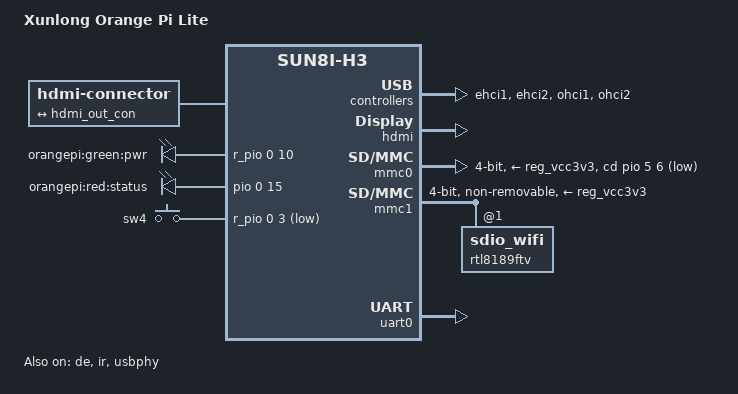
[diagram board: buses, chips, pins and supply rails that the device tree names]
/*
 * Copyright (C) 2016 Hans de Goede <hdegoede@redhat.com>
 *
 * This file is dual-licensed: you can use it either under the terms
 * of the GPL or the X11 license, at your option. Note that this dual
 * licensing only applies to this file, and not this project as a
 * whole.
 *
 *  a) This file is free software; you can redistribute it and/or
 *     modify it under the terms of the GNU General Public License as
 *     published by the Free Software Foundation; either version 2 of the
 *     License, or (at your option) any later version.
 *
 *     This file is distributed in the hope that it will be useful,
 *     but WITHOUT ANY WARRANTY; without even the implied warranty of
 *     MERCHANTABILITY or FITNESS FOR A PARTICULAR PURPOSE.  See the
 *     GNU General Public License for more details.
 *
 * Or, alternatively,
 *
 *  b) Permission is hereby granted, free of charge, to any person
 *     obtaining a copy of this software and associated documentation
 *     files (the "Software"), to deal in the Software without
 *     restriction, including without limitation the rights to use,
 *     copy, modify, merge, publish, distribute, sublicense, and/or
 *     sell copies of the Software, and to permit persons to whom the
 *     Software is furnished to do so, subject to the following
 *     conditions:
 *
 *     The above copyright notice and this permission notice shall be
 *     included in all copies or substantial portions of the Software.
 *
 *     THE SOFTWARE IS PROVIDED "AS IS", WITHOUT WARRANTY OF ANY KIND,
 *     EXPRESS OR IMPLIED, INCLUDING BUT NOT LIMITED TO THE WARRANTIES
 *     OF MERCHANTABILITY, FITNESS FOR A PARTICULAR PURPOSE AND
 *     NONINFRINGEMENT. IN NO EVENT SHALL THE AUTHORS OR COPYRIGHT
 *     HOLDERS BE LIABLE FOR ANY CLAIM, DAMAGES OR OTHER LIABILITY,
 *     WHETHER IN AN ACTION OF CONTRACT, TORT OR OTHERWISE, ARISING
 *     FROM, OUT OF OR IN CONNECTION WITH THE SOFTWARE OR THE USE OR
 *     OTHER DEALINGS IN THE SOFTWARE.
 */

/dts-v1/;
#include "sun8i-h3.dtsi"
#include "sunxi-common-regulators.dtsi"

#include <dt-bindings/gpio/gpio.h>
#include <dt-bindings/input/input.h>

/ {
	model = "Xunlong Orange Pi Lite";
	compatible = "xunlong,orangepi-lite", "allwinner,sun8i-h3";

	aliases {
		/* The H3 emac is not used so the wifi is ethernet0 */
		ethernet0 = &rtl8189ftv;
		serial0 = &uart0;
	};

	chosen {
		stdout-path = "serial0:115200n8";
	};

	connector {
		compatible = "hdmi-connector";
		type = "a";

		port {
			hdmi_con_in: endpoint {
				remote-endpoint = <&hdmi_out_con>;
			};
		};
	};

	leds {
		compatible = "gpio-leds";

		pwr_led {
			label = "orangepi:green:pwr";
			gpios = <&r_pio 0 10 GPIO_ACTIVE_HIGH>;
			default-state = "on";
		};

		status_led {
			label = "orangepi:red:status";
			gpios = <&pio 0 15 GPIO_ACTIVE_HIGH>;
		};
	};

	gpio-keys {
		compatible = "gpio-keys";

		switch-4 {
			label = "sw4";
			linux,code = <BTN_0>;
			gpios = <&r_pio 0 3 GPIO_ACTIVE_LOW>;
		};
	};
};

&de {
	status = "okay";
};

&ehci1 {
	status = "okay";
};

&ehci2 {
	status = "okay";
};

&hdmi {
	status = "okay";
};

&hdmi_out {
	hdmi_out_con: endpoint {
		remote-endpoint = <&hdmi_con_in>;
	};
};

&ir {
	pinctrl-names = "default";
	pinctrl-0 = <&r_ir_rx_pin>;
	status = "okay";
};

&mmc0 {
	vmmc-supply = <&reg_vcc3v3>;
	bus-width = <4>;
	cd-gpios = <&pio 5 6 GPIO_ACTIVE_LOW>; /* PF6 */
	status = "okay";
};

&mmc1 {
	vmmc-supply = <&reg_vcc3v3>;
	bus-width = <4>;
	non-removable;
	status = "okay";

	/*
	 * Explicitly define the sdio device, so that we can add an ethernet
	 * alias for it (which e.g. makes u-boot set a mac-address).
	 */
	rtl8189ftv: sdio_wifi@1 {
		reg = <1>;
	};
};

&ohci1 {
	status = "okay";
};

&ohci2 {
	status = "okay";
};

&uart0 {
	pinctrl-names = "default";
	pinctrl-0 = <&uart0_pa_pins>;
	status = "okay";
};

&usbphy {
	/* USB VBUS is always on */
	status = "okay";
};
